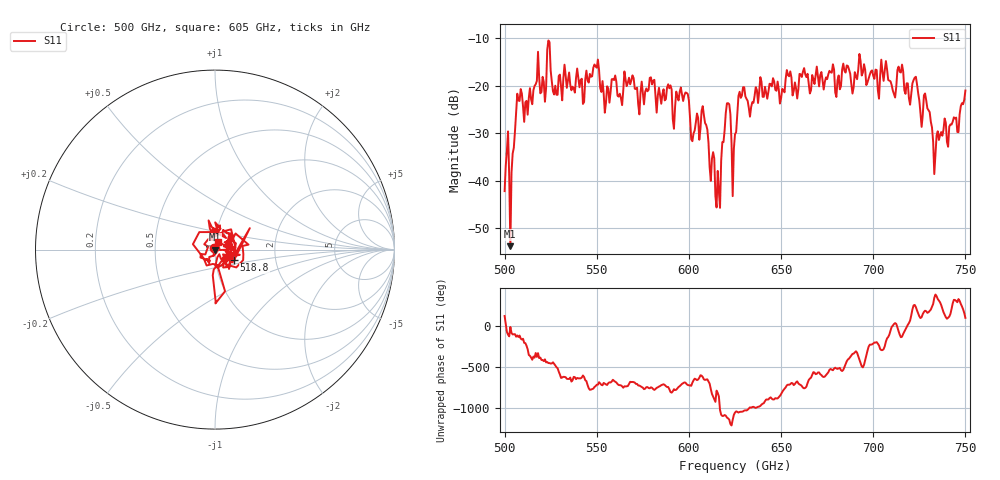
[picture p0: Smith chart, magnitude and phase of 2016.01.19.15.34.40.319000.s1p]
!Created with skrf (http://scikit-rf.org).
# GHz S RI R 50.0
!freq ReS11 ImS11
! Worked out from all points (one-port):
!   401 points, 500 GHz to 750 GHz, reference 50 ohm
!   lowest |S11| = -53.8 dB at 503.1 GHz (marker M1), VSWR 1.00, Z = 50.2 - j0.034 ohm
!   |S11| at or under -10 dB: start of sweep to end of sweep
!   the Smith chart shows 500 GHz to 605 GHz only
!   S11 on the Smith chart (normalised r, x): 500 GHz: 0.99, +0.01; 518.8 GHz: 1.23, -0.15; 605 GHz: 1.03, +0.09
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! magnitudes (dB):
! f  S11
! 500 GHz  -42.2
! 503.1 GHz  -53.8
! 507.5 GHz  -23.1
! 518.8 GHz  -18.3
! 521.2 GHz  -19.2
! 524.4 GHz  -10.8
! 527.5 GHz  -20.0
! 531.2 GHz  -23.1
! 541.9 GHz  -18.5
! 549.4 GHz  -15.9
! 553.8 GHz  -21.7
! 562.5 GHz  -21.7
! 593.8 GHz  -22.2
! 605 GHz  -26.8
! 608.8 GHz  -27.8
! 615.6 GHz  -37.9
! 620.6 GHz  -23.7
! 625 GHz  -30.2
! 628.8 GHz  -22.1
! 656.2 GHz  -22.1
! 687.5 GHz  -17.5
! 705.6 GHz  -19.0
! 711.2 GHz  -21.7
! 715 GHz  -17.2
! 718.8 GHz  -19.5
! 728.8 GHz  -23.1
! 733.8 GHz  -34.5
! 750 GHz  -21.0
